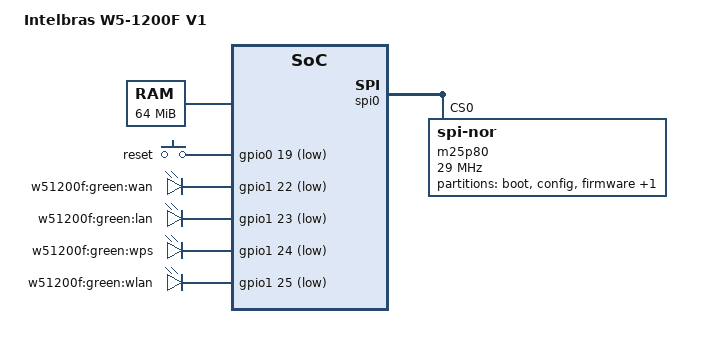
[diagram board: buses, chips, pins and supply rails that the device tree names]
// SPDX-License-Identifier: GPL-2.0
/dts-v1/;

#include "RTL8197FVG.dtsi"

#include <dt-bindings/gpio/gpio.h>
#include <dt-bindings/input/input.h>

/ {
	compatible = "intelbras,w5-1200f", "realtek,rtl8197f-soc";
	model = "Intelbras W5-1200F V1";

	memory {
		device_type = "memory";
		reg = <0x0 0x4000000>;
	};

	chosen {
		bootargs = "console=ttyS0,115200";
	};

	gpio-keys-polled {
		compatible = "gpio-keys-polled";
		#address-cells = <1>;
		#size-cells = <0>;
		poll-interval = <20>;

		reset {
			label = "reset";
			gpios = <&gpio0 19 GPIO_ACTIVE_LOW>;
			linux,code = <KEY_RESTART>;
		};
	};

	gpio-leds {
		compatible = "gpio-leds";

		wan {
			label = "w51200f:green:wan";
			gpios = <&gpio1 22 GPIO_ACTIVE_LOW>;
		};

		lan {
			label = "w51200f:green:lan";
			gpios = <&gpio1 23 GPIO_ACTIVE_LOW>;
		};

		wps {
			label = "w51200f:green:wps";
			gpios = <&gpio1 24 GPIO_ACTIVE_LOW>;
		};


		wlan {
			label = "w51200f:green:wlan";
			gpios = <&gpio1 25 GPIO_ACTIVE_LOW>;
		};
	};
};

&gpio0 {
	status = "okay";
};

&gpio1 {
	status = "okay";
};

&spi0 {
	status = "okay";

	m25p80@0 {
		#address-cells = <1>;
		#size-cells = <1>;
		compatible = "jedec,spi-nor";
		reg = <0>;
		spi-max-frequency = <29000000>;

		partition@0 {
			label = "boot";
			reg = <0x0 0x20000>;
			read-only;
		};

		partition@20000 {
			label = "config";
			reg = <0x20000 0x10000>;
			read-only;
		};

		partition@30000 {
			label = "firmware";
			reg = <0x30000 0x7B0000>;
		};

		partition@7E0000 {
			label = "intelbras";
			reg = <0x7E0000 0x20000>;
			read-only;
		};
	};
};
